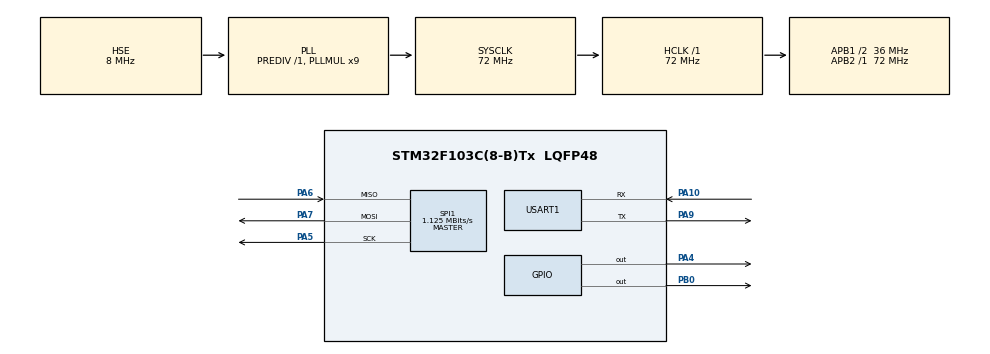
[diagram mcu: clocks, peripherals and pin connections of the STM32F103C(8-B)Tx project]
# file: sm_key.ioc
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Mcu.Family=STM32F1
Mcu.Name=STM32F103C(8-B)Tx
Mcu.Package=LQFP48
NVIC.PriorityGroup=NVIC_PRIORITYGROUP_4
NVIC.USART1_IRQn=true\:0\:0\:false\:false\:true\:true\:true\:true
PA10.Mode=Asynchronous
PA10.Signal=USART1_RX
PA13.Mode=Serial_Wire
PA13.Signal=SYS_JTMS-SWDIO
PA14.Mode=Serial_Wire
PA14.Signal=SYS_JTCK-SWCLK
PA4.Signal=GPIO_Output
PA5.Mode=Full_Duplex_Master
PA5.Signal=SPI1_SCK
PA6.Mode=Full_Duplex_Master
PA6.Signal=SPI1_MISO
PA7.Mode=Full_Duplex_Master
PA7.Signal=SPI1_MOSI
PA9.Mode=Asynchronous
PA9.Signal=USART1_TX
PB0.Signal=GPIO_Output
PD0-OSC_IN.Mode=HSE-External-Oscillator
PD0-OSC_IN.Signal=RCC_OSC_IN
PD1-OSC_OUT.Mode=HSE-External-Oscillator
PD1-OSC_OUT.Signal=RCC_OSC_OUT
ProjectManager.HeapSize=0x200
ProjectManager.StackSize=0x400
ProjectManager.TargetToolchain=MDK-ARM V5.32
RCC.AHBFreq_Value=72000000
RCC.APB1CLKDivider=RCC_HCLK_DIV2
RCC.APB1Freq_Value=36000000
RCC.APB1TimFreq_Value=72000000
RCC.APB2Freq_Value=72000000
RCC.APB2TimFreq_Value=72000000
RCC.HCLKFreq_Value=72000000
RCC.PLLMUL=RCC_PLL_MUL9
RCC.PLLSourceVirtual=RCC_PLLSOURCE_HSE
RCC.SYSCLKFreq_VALUE=72000000
RCC.SYSCLKSource=RCC_SYSCLKSOURCE_PLLCLK
RCC.USBFreq_Value=72000000
SPI1.BaudRatePrescaler=SPI_BAUDRATEPRESCALER_64
SPI1.CalculateBaudRate=1.125 MBits/s
SPI1.Direction=SPI_DIRECTION_2LINES
SPI1.Mode=SPI_MODE_MASTER
SPI1.VirtualType=VM_MASTER
USART1.VirtualMode=VM_ASYNC
board=custom

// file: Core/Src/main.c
/* USER CODE BEGIN Header */
/* USER CODE END Header */

#include "main.h"
#include "string.h"

/* USER CODE BEGIN Includes */
#include <stdio.h>
/* USER CODE END Includes */

/* USER CODE BEGIN PTD */

#define MAX_RFID_CARDS 120

typedef struct
{
    uint8_t valid;
    uint8_t uid[4];

} RFID_Card_t;

/* USER CODE END PTD */

/* USER CODE BEGIN PD */

#define RFID_FLASH_ADDR       0x0800FC00UL
#define RFID_FLASH_PAGE_SIZE  1024UL

/*
 * MAGIC dùng d? ki?m tra Flash
 * "RFID"
 */
#define RFID_FLASH_MAGIC      0x52464944UL

#define RFID_FLASH_HEADER_SIZE    4U
#define RFID_RECORD_SIZE          5U
#define RFID_FLASH_CHECKSUM_SIZE  2U
#define RFID_CHECKSUM_OFFSET      (RFID_FLASH_HEADER_SIZE + (MAX_RFID_CARDS * RFID_RECORD_SIZE))
#define RFID_FLASH_DATA_SIZE      (RFID_CHECKSUM_OFFSET + RFID_FLASH_CHECKSUM_SIZE)
#define RFID_LEGACY_CARDS         20U
#define RFID_LEGACY_CHECKSUM_OFFSET (RFID_FLASH_HEADER_SIZE + (RFID_LEGACY_CARDS * RFID_RECORD_SIZE))
#if RFID_FLASH_DATA_SIZE > RFID_FLASH_PAGE_SIZE
#error "RFID database exceeds the reserved Flash page"
#endif

/* USER CODE END PD */

SPI_HandleTypeDef hspi1;
UART_HandleTypeDef huart1;

/* USER CODE BEGIN PV */

uint8_t status;

uint8_t str[16];

uint8_t sNum[5];
RFID_Card_t rfidCards[MAX_RFID_CARDS];
/*
 * Ch?ng d?c liên t?c 1 th?
 */
uint8_t cardDetected = 0;
uint8_t uart_rx;
volatile uint8_t addRFIDRequest = 0;
volatile uint8_t waitDeleteID = 0;
volatile uint8_t deleteRFIDRequest = 0;
volatile uint8_t deleteRFID_ID = 0;

/* USER CODE END PV */

void SystemClock_Config(void);

static void MX_GPIO_Init(void);

static void MX_SPI1_Init(void);

static void MX_USART1_UART_Init(void);

/* USER CODE BEGIN 0 */

void RFID_SendMessage(char *msg)
{
    HAL_UART_Transmit(
        &huart1,
        (uint8_t *)msg,
        strlen(msg),
        100
    );
}

uint16_t RFID_CalculateChecksum(
    uint8_t *data,
    uint16_t length
)
{
    uint16_t checksum = 0;

    for(uint16_t i = 0; i < length; i++)
    {
        checksum += data[i];
    }

    return checksum;
}

int RFID_FindUID(uint8_t *uid)
{
    for(int i = 0; i < MAX_RFID_CARDS; i++)
    {
        if(rfidCards[i].valid == 1)
        {
            if(
                memcmp(
                    rfidCards[i].uid,
                    uid,
                    4
                ) == 0
            )
            {
                return i;
            }
        }
    }

    return -1;
}

int RFID_FindFreeID(void)
{
    for(int i = 0; i < MAX_RFID_CARDS; i++)
    {
        if(rfidCards[i].valid == 0)
        {
            return i;
        }
    }

    return -1;
}

uint8_t RFID_Flash_Save(void)
{

    uint8_t flashData[RFID_FLASH_DATA_SIZE];

    memset(
        flashData,
        0,
        sizeof(flashData)
    );

    uint32_t magic = RFID_FLASH_MAGIC;

    memcpy(
        &flashData[0],
        &magic,
        4
    );

    uint16_t index = 4;

    for(int i = 0; i < MAX_RFID_CARDS; i++)
    {
        /*
         * Valid
         */
        flashData[index] =
            rfidCards[i].valid;

        index++;

        /*
         * UID 4 byte
         */
        memcpy(
            &flashData[index],
            rfidCards[i].uid,
            4
        );

        index += 4;
    }

    uint16_t checksum =
        RFID_CalculateChecksum(
            flashData,
            RFID_CHECKSUM_OFFSET
        );

    memcpy(
        &flashData[RFID_CHECKSUM_OFFSET],
        &checksum,
        2
    );

    HAL_FLASH_Unlock();

    FLASH_EraseInitTypeDef EraseInitStruct;

    uint32_t PageError = 0;

    EraseInitStruct.TypeErase =
        FLASH_TYPEERASE_PAGES;

    EraseInitStruct.PageAddress =
        RFID_FLASH_ADDR;

    EraseInitStruct.NbPages =
        1;

    if(
        HAL_FLASHEx_Erase(
            &EraseInitStruct,
            &PageError
        ) != HAL_OK
    )
    {
        HAL_FLASH_Lock();

        return 0;
    }

    uint32_t address =
        RFID_FLASH_ADDR;

    for(
        uint16_t i = 0;
        i < sizeof(flashData);
        i += 2
    )
    {
        uint16_t halfWord;

        halfWord =
            (uint16_t)flashData[i];

        halfWord |=
            ((uint16_t)flashData[i + 1] << 8);

        if(
            HAL_FLASH_Program(
                FLASH_TYPEPROGRAM_HALFWORD,
                address,
                halfWord
            ) != HAL_OK
        )
        {
            HAL_FLASH_Lock();

            return 0;
        }

        address += 2;
    }

    HAL_FLASH_Lock();

    return 1;
}

uint8_t RFID_Flash_Load(void)
{
    uint8_t flashData[RFID_FLASH_DATA_SIZE];

    memcpy(
        flashData,
        (uint8_t *)RFID_FLASH_ADDR,
        sizeof(flashData)
    );

    uint32_t magic;

    memcpy(
        &magic,
        &flashData[0],
        4
    );

    if(magic != RFID_FLASH_MAGIC)
    {
        /*
         * Flash chua có database
         */

        memset(
            rfidCards,
            0,
            sizeof(rfidCards)
        );

        return 0;
    }

    uint16_t savedChecksum;

    memcpy(
        &savedChecksum,
        &flashData[RFID_CHECKSUM_OFFSET],
        2
    );

    uint16_t calculatedChecksum =
        RFID_CalculateChecksum(
            flashData,
            RFID_CHECKSUM_OFFSET
        );

    if(savedChecksum != calculatedChecksum)
    {
        uint16_t legacySavedChecksum;

        memcpy(
            &legacySavedChecksum,
            &flashData[RFID_LEGACY_CHECKSUM_OFFSET],
            2
        );

        uint16_t legacyCalculatedChecksum =
            RFID_CalculateChecksum(
                flashData,
                RFID_LEGACY_CHECKSUM_OFFSET
            );

        if(legacySavedChecksum == legacyCalculatedChecksum)
        {
            memset(
                rfidCards,
                0,
                sizeof(rfidCards)
            );

            uint16_t legacyIndex = RFID_FLASH_HEADER_SIZE;

            for(int i = 0; i < RFID_LEGACY_CARDS; i++)
            {
                rfidCards[i].valid =
                    flashData[legacyIndex++];

                if(rfidCards[i].valid != 1)
                {
                    rfidCards[i].valid = 0;
                }

                memcpy(
                    rfidCards[i].uid,
                    &flashData[legacyIndex],
                    4
                );

                legacyIndex += 4;
            }

            return RFID_Flash_Save();
        }

        memset(
            rfidCards,
            0,
            sizeof(rfidCards)
        );

        return 0;
    }

    uint16_t index = 4;

    for(int i = 0; i < MAX_RFID_CARDS; i++)
    {
        /*
         * Valid
         */

        rfidCards[i].valid =
            flashData[index];

        index++;

        /*
         * Ch? ch?p nh?n 0 ho?c 1
         */

        if(rfidCards[i].valid != 1)
        {
            rfidCards[i].valid = 0;
        }

        /*
         * UID
         */

        memcpy(
            rfidCards[i].uid,
            &flashData[index],
            4
        );

        index += 4;
    }

    return 1;
}

int RFID_Add(uint8_t *uid)
{

    int oldID =
        RFID_FindUID(uid);

    if(oldID >= 0)
    {
        return oldID;
    }

    int newID =
        RFID_FindFreeID();

    if(newID < 0)
    {
        return -1;
    }

    RFID_Card_t backup =
        rfidCards[newID];

    rfidCards[newID].valid = 1;

    memcpy(
        rfidCards[newID].uid,
        uid,
        4
    );

    if(!RFID_Flash_Save())
    {
        /*
         * Flash l?i
         * restore RAM
         */

        rfidCards[newID] =
            backup;

        return -1;
    }

    return newID;
}

uint8_t RFID_Delete(uint8_t cardID)
{

    if(cardID >= MAX_RFID_CARDS)
    {
        return 0;
    }

    if(rfidCards[cardID].valid == 0)
    {
        return 0;
    }

    RFID_Card_t backup =
        rfidCards[cardID];

    rfidCards[cardID].valid =
        0;

    memset(
        rfidCards[cardID].uid,
        0,
        4
    );

    if(!RFID_Flash_Save())
    {
        /*
         * Flash l?i
         * restore
         */

        rfidCards[cardID] =
            backup;

        return 0;
    }

    return 1;
}

void RFID_PrintDatabase(void)
{
    char msg[80];

    for(int i = 0; i < MAX_RFID_CARDS; i++)
    {
        if(rfidCards[i].valid == 1)
        {
            sprintf(
                msg,
                "ID:%d UID:%02X %02X %02X %02X\r\n",
                i,
                rfidCards[i].uid[0],
                rfidCards[i].uid[1],
                rfidCards[i].uid[2],
                rfidCards[i].uid[3]
            );

            HAL_UART_Transmit(
                &huart1,
                (uint8_t *)msg,
                strlen(msg),
                100
            );
        }
    }
}

uint16_t RFID_Count(void)
{
    uint16_t count = 0;

    for(int i = 0; i < MAX_RFID_CARDS; i++)
    {
        if(rfidCards[i].valid == 1)
        {
            count++;
        }
    }

    return count;
}

void RFID_SendCount(void)
{
    char msg[24];

    sprintf(
        msg,
        "COUNT:%u\n",
        (unsigned int)RFID_Count()
    );

    RFID_SendMessage(msg);
}

/* USER CODE END 0 */

int main(void)
{

    /* MCU Configuration--------------------------------------------------------*/

    HAL_Init();

    /* Configure the system clock */

    SystemClock_Config();

    /* Initialize all configured peripherals */

    MX_GPIO_Init();

    MX_SPI1_Init();

    MX_USART1_UART_Init();

    /* USER CODE BEGIN 2 */

    MFRC522_Init();

    if(RFID_Flash_Load())
    {
        RFID_SendMessage(
            "RFID_FLASH_OK\n"
        );
    }

    else
    {
        RFID_SendMessage(
            "RFID_FLASH_EMPTY\n"
        );
    }

    RFID_SendCount();

    HAL_UART_Receive_IT(
        &huart1,
        &uart_rx,
        1
    );

    /* USER CODE END 2 */

    /* Infinite loop */
    /* USER CODE BEGIN WHILE */

    while(1)
    {

        if(deleteRFIDRequest)
        {
            /*
             * Copy ID tru?c
             */
            uint8_t deleteID =
                deleteRFID_ID;

            /*
             * Reset flag
             */
            deleteRFIDRequest = 0;

            char msg[30];

            if(
                RFID_Delete(
                    deleteID
                )
            )
            {
                sprintf(
                    msg,
                    "DEL_OK:%d\n",
                    deleteID
                );

                RFID_SendMessage(
                    msg
                );

                RFID_SendCount();
            }

            else
            {
                RFID_SendMessage(
                    "ID_EMPTY\n"
                );
            }
        }

        status =
            MFRC522_Request(
                PICC_REQIDL,
                str
            );

        if(status == MI_OK)
        {
            uint32_t authStartTick = HAL_GetTick();

            status =
                MFRC522_Anticoll(
                    str
                );

            if(status == MI_OK)
            {

                /*
                 * Ch? x? lư m?t l?n khi dua th? vào
                 */

                if(cardDetected == 0)
                {
                    cardDetected = 1;

                    memcpy(
                        sNum,
                        str,
                        5
                    );

                    if(addRFIDRequest)
                    {

                        /*
                         * Ki?m tra th? dă t?n t?i chua
                         */

                        int oldID =
                            RFID_FindUID(str);

                        if(oldID >= 0)
                        {
                            char msg[30];

                            sprintf(
                                msg,
                                "EXISTS:%d\n",
                                oldID
                            );

                            RFID_SendMessage(
                                msg
                            );

                            /*
                             * Thoát ADD mode
                             */

                            addRFIDRequest = 0;
                        }

                        else
                        {

                            /*
                             * T́m ID + luu Flash
                             */

                            int newID =
                                RFID_Add(str);

                            if(newID >= 0)
                            {
                                char msg[30];

                                sprintf(
                                    msg,
                                    "ADD_OK:%d\n",
                                    newID
                                );

                                RFID_SendMessage(
                                    msg
                                );

                                RFID_SendCount();
                            }

                            else
                            {
                                RFID_SendMessage(
                                    "FULL\n"
                                );
                            }

                            /*
                             * Thoát ADD mode
                             */

                            addRFIDRequest = 0;
                        }
                    }

                    /* ========================================
                       NORMAL MODE
                       ======================================== */

                    else
                    {

                        /*
                         * T́m UID trong database
                         */

                        int cardID =
                            RFID_FindUID(str);

                        /*
                         * Có th?
                         */

                        if(cardID >= 0)
                        {
                            char msg[48];
                            uint32_t authTimeMs =
                                HAL_GetTick() - authStartTick;

                            sprintf(
                                msg,
                                "RFID_OK:%d:%lu\n",
                                cardID,
                                (unsigned long)authTimeMs
                            );

                            RFID_SendMessage(msg);
                        }

                        else
                        {
                            char msg[40];
                            uint32_t authTimeMs =
                                HAL_GetTick() - authStartTick;

                            sprintf(
                                msg,
                                "RFID_DENIED:%lu\n",
                                (unsigned long)authTimeMs
                            );

                            RFID_SendMessage(msg);
                        }

                    }
                }
            }
        }

        /* ====================================================
           NO CARD
           ==================================================== */

        else
        {
            /*
             * Th? dă l?y ra
             *
             * cho phép d?c th? ti?p theo
             */

            cardDetected = 0;
        }
    }

    /* USER CODE END WHILE */
}

/* ============================================================
   SYSTEM CLOCK
   ============================================================ */

void SystemClock_Config(void)
{
    RCC_OscInitTypeDef RCC_OscInitStruct = {0};

    RCC_ClkInitTypeDef RCC_ClkInitStruct = {0};

    RCC_OscInitStruct.OscillatorType =
        RCC_OSCILLATORTYPE_HSE;

    RCC_OscInitStruct.HSEState =
        RCC_HSE_ON;

    RCC_OscInitStruct.HSEPredivValue =
        RCC_HSE_PREDIV_DIV1;

    RCC_OscInitStruct.HSIState =
        RCC_HSI_ON;

    RCC_OscInitStruct.PLL.PLLState =
        RCC_PLL_ON;

    RCC_OscInitStruct.PLL.PLLSource =
        RCC_PLLSOURCE_HSE;

    RCC_OscInitStruct.PLL.PLLMUL =
        RCC_PLL_MUL9;

    if(
        HAL_RCC_OscConfig(
            &RCC_OscInitStruct
        ) != HAL_OK
    )
    {
        Error_Handler();
    }

    RCC_ClkInitStruct.ClockType =
        RCC_CLOCKTYPE_HCLK |
        RCC_CLOCKTYPE_SYSCLK |
        RCC_CLOCKTYPE_PCLK1 |
        RCC_CLOCKTYPE_PCLK2;

    RCC_ClkInitStruct.SYSCLKSource =
        RCC_SYSCLKSOURCE_PLLCLK;

    RCC_ClkInitStruct.AHBCLKDivider =
        RCC_SYSCLK_DIV1;

    RCC_ClkInitStruct.APB1CLKDivider =
        RCC_HCLK_DIV2;

    RCC_ClkInitStruct.APB2CLKDivider =
        RCC_HCLK_DIV1;

    if(
        HAL_RCC_ClockConfig(
            &RCC_ClkInitStruct,
            FLASH_LATENCY_2
        ) != HAL_OK
    )
    {
        Error_Handler();
    }
}

/* ============================================================
   SPI1
   RC522
   ============================================================ */

static void MX_SPI1_Init(void)
{
    hspi1.Instance =
        SPI1;

    hspi1.Init.Mode =
        SPI_MODE_MASTER;

    hspi1.Init.Direction =
        SPI_DIRECTION_2LINES;

    hspi1.Init.DataSize =
        SPI_DATASIZE_8BIT;

    hspi1.Init.CLKPolarity =
        SPI_POLARITY_LOW;

    hspi1.Init.CLKPhase =
        SPI_PHASE_1EDGE;

    hspi1.Init.NSS =
        SPI_NSS_SOFT;

    hspi1.Init.BaudRatePrescaler =
        SPI_BAUDRATEPRESCALER_64;

    hspi1.Init.FirstBit =
        SPI_FIRSTBIT_MSB;

    hspi1.Init.TIMode =
        SPI_TIMODE_DISABLE;

    hspi1.Init.CRCCalculation =
        SPI_CRCCALCULATION_DISABLE;

    hspi1.Init.CRCPolynomial =
        10;

    if(
        HAL_SPI_Init(
            &hspi1
        ) != HAL_OK
    )
    {
        Error_Handler();
    }
}

static void MX_USART1_UART_Init(void)
{
    huart1.Instance =
        USART1;

    huart1.Init.BaudRate =
        115200;

    huart1.Init.WordLength =
        UART_WORDLENGTH_8B;

    huart1.Init.StopBits =
        UART_STOPBITS_1;

    huart1.Init.Parity =
        UART_PARITY_NONE;

    huart1.Init.Mode =
        UART_MODE_TX_RX;

    huart1.Init.HwFlowCtl =
        UART_HWCONTROL_NONE;

    huart1.Init.OverSampling =
        UART_OVERSAMPLING_16;

    if(
        HAL_UART_Init(
            &huart1
        ) != HAL_OK
    )
    {
        Error_Handler();
    }
}

static void MX_GPIO_Init(void)
{
    GPIO_InitTypeDef GPIO_InitStruct = {0};

    /* GPIO Ports Clock Enable */

    __HAL_RCC_GPIOD_CLK_ENABLE();

    __HAL_RCC_GPIOA_CLK_ENABLE();

    __HAL_RCC_GPIOB_CLK_ENABLE();

    /* PA4 */

    HAL_GPIO_WritePin(
        GPIOA,
        GPIO_PIN_4,
        GPIO_PIN_RESET
    );

    /* PB0 */

    HAL_GPIO_WritePin(
        GPIOB,
        GPIO_PIN_0,
        GPIO_PIN_RESET
    );

    /* Configure GPIO pin : PA4 */

    GPIO_InitStruct.Pin =
        GPIO_PIN_4;

    GPIO_InitStruct.Mode =
        GPIO_MODE_OUTPUT_PP;

    GPIO_InitStruct.Pull =
        GPIO_NOPULL;

    GPIO_InitStruct.Speed =
        GPIO_SPEED_FREQ_LOW;

    HAL_GPIO_Init(
        GPIOA,
        &GPIO_InitStruct
    );

    /* Configure GPIO pin : PB0 */

    GPIO_InitStruct.Pin =
        GPIO_PIN_0;

    GPIO_InitStruct.Mode =
        GPIO_MODE_OUTPUT_PP;

    GPIO_InitStruct.Pull =
        GPIO_NOPULL;

    GPIO_InitStruct.Speed =
        GPIO_SPEED_FREQ_LOW;

    HAL_GPIO_Init(
        GPIOB,
        &GPIO_InitStruct
    );
}

/* USER CODE BEGIN 4 */

void HAL_UART_RxCpltCallback(
    UART_HandleTypeDef *huart
)
{
    if(huart->Instance == USART1)
    {

        if(waitDeleteID)
        {
            deleteRFID_ID =
                uart_rx;

            deleteRFIDRequest =
                1;

            waitDeleteID =
                0;
        }

        else if(uart_rx == 'A')
        {
            addRFIDRequest =
                1;
        }

        else if(uart_rx == 'D')
        {
            waitDeleteID =
                1;
        }

        HAL_UART_Receive_IT(
            &huart1,
            &uart_rx,
            1
        );
    }
}

/* USER CODE END 4 */

/* ============================================================
   ERROR
   ============================================================ */

void Error_Handler(void)
{
    __disable_irq();

    while(1)
    {

    }
}
